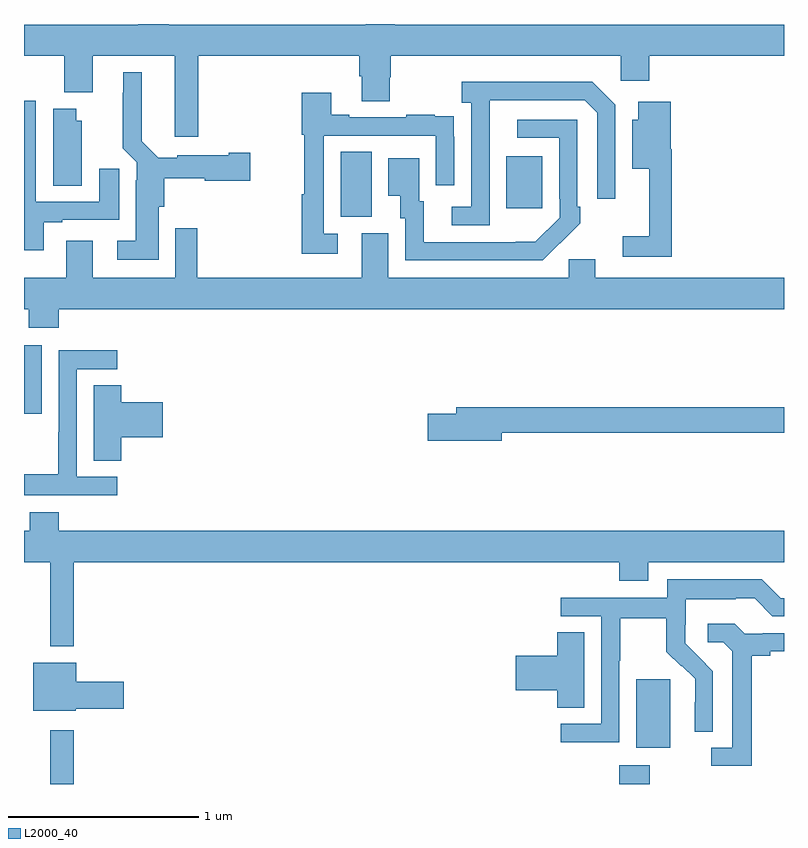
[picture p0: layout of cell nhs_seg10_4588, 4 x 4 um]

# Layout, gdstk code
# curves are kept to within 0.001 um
import gdstk
lib = gdstk.Library(unit=1e-6, precision=1e-09)
def R(c, l, rs):  # rectangles x0, y0, x1, y1
    for r in rs: c.add(gdstk.rectangle(r[:2], r[2:], *l))
def P(c, l, *ps):  # polygons
    for p in ps: c.add(gdstk.Polygon(p, *l))
L2000_40 = (2000, 40)

nhs_seg10_4588 = lib.new_cell('nhs_seg10_4588')
R(nhs_seg10_4588, L2000_40, [(373.139,1280.5,373.261,1280.782), (376.133,1280.5,376.293,1280.599), (376.223,1280.69,376.402,1281.051), (373,1282.449,373.093,1282.81), (374.666,1283.485,374.83,1283.828), (375.539,1283.529,375.727,1283.803)])
P(nhs_seg10_4588, L2000_40, [(373.916,1284.332),(374.765,1284.332),(374.765,1284.226),(374.777,1284.226),(374.777,1284.094),(374.925,1284.094),(374.925,1284.219),(374.93,1284.219),(374.93,1284.332),(376.14,1284.332),(376.14,1284.201),(376.292,1284.201),(376.292,1284.332),(377,1284.332),(377,1284.496),(374.951,1284.496),(374.951,1284.5),(374.798,1284.5),(374.798,1284.496),(373.761,1284.496),(373.761,1284.5),(373.601,1284.5),(373.601,1284.496),(373,1284.496),(373,1284.332),(373.211,1284.332),(373.211,1284.14),(373.363,1284.14),(373.363,1284.332),(373.793,1284.332),(373.793,1283.907),(373.916,1283.907)],
  [(373.708,1283.538),(373.739,1283.538),(373.739,1283.687),(373.95,1283.687),(373.95,1283.675),(374.191,1283.675),(374.191,1283.822),(374.078,1283.822),(374.078,1283.809),(373.806,1283.809),(373.806,1283.797),(373.707,1283.797),(373.621,1283.884),(373.621,1284.247),(373.523,1284.247),(373.523,1284.137),(373.519,1284.137),(373.519,1283.846),(373.593,1283.772),(373.593,1283.678),(373.589,1283.678),(373.589,1283.359),(373.491,1283.359),(373.491,1283.258),(373.708,1283.258)],
  [(375.45,1283.899),(375.451,1284.099),(375.951,1284.099),(376.017,1284.033),(376.017,1283.58),(376.113,1283.58),(376.113,1284.075),(375.992,1284.196),(375.303,1284.196),(375.303,1284.086),(375.354,1284.086),(375.354,1283.538),(375.252,1283.538),(375.252,1283.442),(375.45,1283.442)],
  [(374.65,1283.397),(374.577,1283.397),(374.577,1283.913),(375.168,1283.913),(375.168,1283.652),(375.264,1283.652),(375.264,1283.906),(375.263,1283.906),(375.263,1284.015),(375.161,1284.015),(375.161,1284.022),(375.013,1284.022),(375.013,1284.009),(374.713,1284.009),(374.713,1284.022),(374.617,1284.022),(374.617,1284.139),(374.461,1284.139),(374.461,1283.916),(374.476,1283.916),(374.476,1283.604),(374.461,1283.604),(374.461,1283.292),(374.65,1283.292)],
  [(373.105,1283.457),(373.201,1283.457),(373.201,1283.469),(373.501,1283.469),(373.501,1283.737),(373.397,1283.737),(373.397,1283.565),(373.063,1283.565),(373.063,1284.097),(373,1284.097),(373,1283.31),(373.105,1283.31)],
  [(376.409,1283.842),(376.403,1283.842),(376.403,1284.091),(376.232,1284.091),(376.232,1283.995),(376.202,1283.995),(376.202,1283.738),(376.292,1283.738),(376.292,1283.383),(376.152,1283.383),(376.152,1283.274),(376.409,1283.274)],
  [(373.303,1283.991),(373.276,1283.991),(373.276,1284.055),(373.154,1284.055),(373.154,1283.65),(373.303,1283.65)],
  [(375.821,1283.347),(375.822,1283.346),(375.927,1283.451),(375.927,1283.539),(375.912,1283.539),(375.912,1283.997),(375.597,1283.997),(375.597,1283.901),(375.816,1283.901),(375.816,1283.581),(375.819,1283.581),(375.819,1283.481),(375.691,1283.353),(375.103,1283.352),(375.103,1283.568),(375.079,1283.568),(375.079,1283.794),(374.918,1283.794),(374.918,1283.597),(374.981,1283.597),(374.981,1283.478),(375.006,1283.478),(375.006,1283.256),(375.73,1283.256)],
  [(373.184,1283),(377,1283),(377,1283.164),(376.006,1283.164),(376.006,1283.262),(375.867,1283.262),(375.867,1283.164),(374.917,1283.164),(374.917,1283.4),(374.777,1283.4),(374.777,1283.164),(373.913,1283.164),(373.913,1283.425),(373.797,1283.425),(373.797,1283.164),(373.363,1283.164),(373.363,1283.359),(373.223,1283.359),(373.223,1283.164),(373,1283.164),(373,1283),(373.024,1283),(373.024,1282.901),(373.184,1282.901)],
  [(373.492,1282.116),(373.278,1282.116),(373.278,1282.683),(373.492,1282.683),(373.492,1282.782),(373.182,1282.782),(373.182,1282.352),(373.18,1282.352),(373.18,1282.129),(373,1282.129),(373,1282.02),(373.492,1282.02)],
  [(373.511,1282.325),(373.729,1282.325),(373.729,1282.508),(373.511,1282.508),(373.511,1282.598),(373.367,1282.598),(373.367,1282.201),(373.511,1282.201)],
  [(375.514,1282.348),(377,1282.348),(377,1282.484),(375.275,1282.484),(375.275,1282.448),(375.126,1282.448),(375.126,1282.306),(375.514,1282.306)],
  [(373.261,1281.668),(376.133,1281.668),(376.133,1281.569),(376.285,1281.569),(376.285,1281.668),(377,1281.668),(377,1281.832),(373.184,1281.832),(373.184,1281.931),(373.031,1281.931),(373.031,1281.832),(373,1281.832),(373,1281.668),(373.139,1281.668),(373.139,1281.224),(373.261,1281.224)],
  [(376.134,1281.148),(376.137,1281.148),(376.137,1281.372),(376.381,1281.372),(376.381,1281.197),(376.458,1281.12),(376.461,1281.123),(376.532,1281.053),(376.532,1280.93),(376.53,1280.93),(376.53,1280.776),(376.626,1280.776),(376.626,1281.094),(376.48,1281.242),(376.48,1281.339),(376.482,1281.339),(376.482,1281.473),(376.745,1281.473),(376.745,1281.477),(376.845,1281.477),(376.938,1281.384),(377,1281.384),(377,1281.477),(376.983,1281.477),(376.883,1281.577),(376.386,1281.577),(376.386,1281.48),(375.825,1281.48),(375.825,1281.384),(376.038,1281.384),(376.038,1280.817),(375.825,1280.817),(375.825,1280.719),(376.134,1280.719)],
  [(376.831,1281.176),(376.927,1281.176),(376.927,1281.198),(377,1281.198),(377,1281.294),(376.888,1281.294),(376.888,1281.291),(376.794,1281.291),(376.742,1281.343),(376.599,1281.343),(376.599,1281.246),(376.68,1281.246),(376.727,1281.199),(376.727,1280.691),(376.617,1280.691),(376.617,1280.595),(376.831,1280.595)],
  [(375.949,1281.299),(375.806,1281.299),(375.806,1281.176),(375.588,1281.176),(375.588,1280.993),(375.806,1280.993),(375.806,1280.902),(375.949,1280.902)],
  [(373.272,1280.896),(373.525,1280.896),(373.525,1281.038),(373.276,1281.038),(373.276,1281.139),(373.049,1281.139),(373.049,1280.885),(373.272,1280.885)])

lib.write_gds('nhs_seg10_4588.gds')
